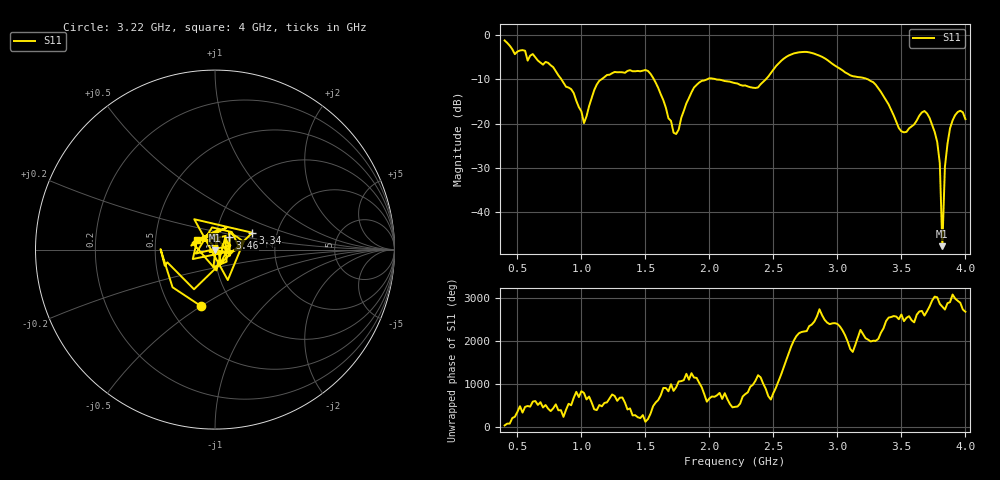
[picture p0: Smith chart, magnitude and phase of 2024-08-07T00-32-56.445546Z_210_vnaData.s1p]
!Created with skrf (http://scikit-rf.org).
# Hz S RI R 50.0
!freq ReS11 ImS11
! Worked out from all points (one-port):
!   181 points, 400 MHz to 4 GHz, reference 50 ohm
!   lowest |S11| = -47.7 dB at 3.82 GHz (marker M1), VSWR 1.01, Z = 50 - j0.413 ohm
!   |S11| at or under -10 dB: 1.567 GHz to 1.981 GHz (414.1 MHz wide, 23.3 % of centre); 2.055 GHz to 2.44 GHz (385.6 MHz wide, 17.2 % of centre); 3.24 GHz to end of sweep (the widest 3 of 4)
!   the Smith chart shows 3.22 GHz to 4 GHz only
!   S11 on the Smith chart (normalised r, x): 3.22 GHz: 0.71, -0.50; 3.34 GHz: 1.49, +0.30; 3.46 GHz: 1.16, +0.16; 4 GHz: 0.81, +0.09
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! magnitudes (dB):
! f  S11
! 400 MHz  -1.2
! 740 MHz  -6.2
! 860 MHz  -10.7
! 940 MHz  -13.1
! 1.02 GHz  -19.9
! 1.14 GHz  -10.3
! 1.3 GHz  -8.4
! 1.52 GHz  -8.1
! 1.72 GHz  -22.0
! 1.76 GHz  -21.3
! 1.82 GHz  -15.4
! 1.92 GHz  -10.7
! 2.2 GHz  -10.8
! 2.38 GHz  -11.8
! 2.66 GHz  -4.1
! 3.1 GHz  -9.1
! 3.22 GHz  -9.8
! 3.34 GHz  -12.8
! 3.46 GHz  -19.5
! 3.56 GHz  -21.1
! 3.68 GHz  -17.1
! 3.76 GHz  -21.9
! 3.8 GHz  -28.9
! 3.82 GHz  -47.7
! 3.84 GHz  -29.8
! 3.88 GHz  -21.0
! 3.94 GHz  -17.4
! 4 GHz  -19.0
